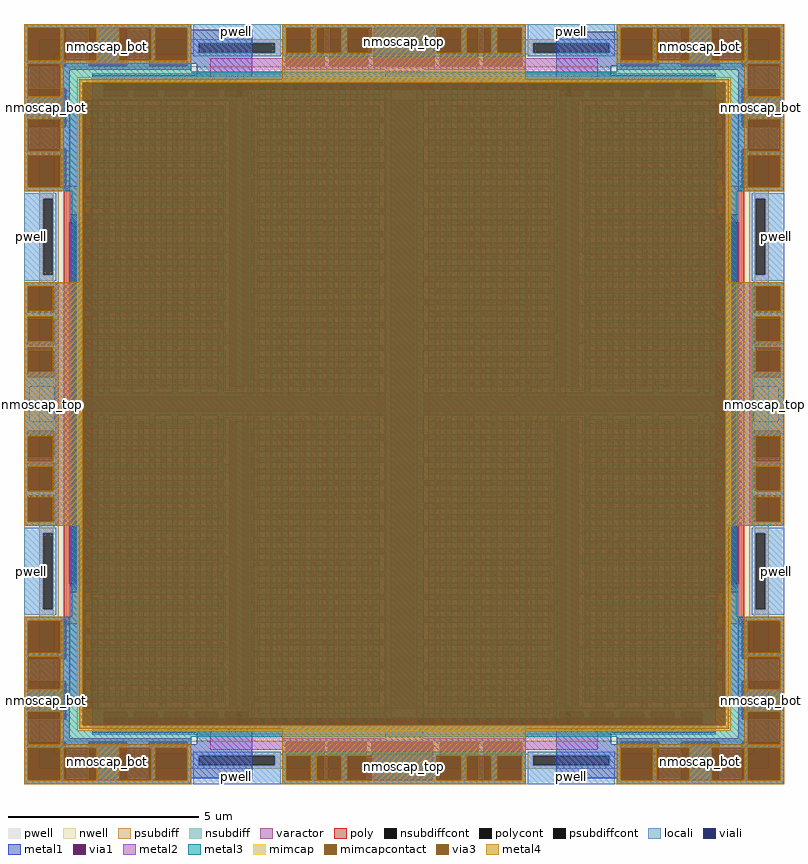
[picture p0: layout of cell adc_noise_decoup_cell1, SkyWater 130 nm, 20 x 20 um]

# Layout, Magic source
magic
tech sky130A
magscale 1 2
<< nwell >>
rect 180 224 3820 3776
<< pwell >>
rect 0 3776 4000 4000
rect 0 224 180 3776
rect 3820 224 4000 3776
rect 0 0 4000 224
<< varactor >>
rect 360 400 3640 3600
<< psubdiff >>
rect 890 3900 1350 3920
rect 890 3850 920 3900
rect 1320 3850 1350 3900
rect 890 3830 1350 3850
rect 2650 3900 3110 3920
rect 2650 3850 2680 3900
rect 3080 3850 3110 3900
rect 2650 3830 3110 3850
rect 80 3080 154 3110
rect 80 2680 100 3080
rect 150 2680 154 3080
rect 80 2650 154 2680
rect 80 1320 154 1350
rect 80 920 100 1320
rect 150 920 154 1320
rect 80 890 154 920
rect 3846 3080 3920 3110
rect 3846 2680 3850 3080
rect 3900 2680 3920 3080
rect 3846 2650 3920 2680
rect 3846 1320 3920 1350
rect 3846 920 3850 1320
rect 3900 920 3920 1320
rect 3846 890 3920 920
rect 890 150 1350 170
rect 890 100 920 150
rect 1320 100 1350 150
rect 890 80 1350 100
rect 2650 150 3110 170
rect 2650 100 2680 150
rect 3080 100 3110 150
rect 2650 80 3110 100
<< nsubdiff >>
rect 360 3720 3640 3740
rect 360 3653 420 3720
rect 3570 3653 3640 3720
rect 360 3600 3640 3653
rect 360 347 3640 400
rect 360 280 420 347
rect 3570 280 3640 347
rect 360 260 3640 280
<< psubdiffcont >>
rect 920 3850 1320 3900
rect 2680 3850 3080 3900
rect 100 2680 150 3080
rect 100 920 150 1320
rect 3850 2680 3900 3080
rect 3850 920 3900 1320
rect 920 100 1320 150
rect 2680 100 3080 150
<< nsubdiffcont >>
rect 420 3653 3570 3720
rect 420 280 3570 347
<< poly >>
rect 320 3150 360 3600
rect 210 2960 360 3150
rect 210 1050 240 2960
rect 313 1050 360 2960
rect 210 840 360 1050
rect 320 400 360 840
rect 3640 3150 3680 3600
rect 3640 2960 3790 3150
rect 3640 1050 3687 2960
rect 3760 1050 3790 2960
rect 3640 840 3790 1050
rect 3640 400 3680 840
<< polycont >>
rect 240 1050 313 2960
rect 3687 1050 3760 2960
<< locali >>
rect 890 3920 1350 4000
rect 2650 3920 3110 4000
rect 80 3900 3920 3920
rect 80 3850 920 3900
rect 1320 3850 2680 3900
rect 3080 3850 3920 3900
rect 80 3840 3920 3850
rect 80 3110 160 3840
rect 890 3830 1350 3840
rect 2650 3830 3110 3840
rect 360 3620 420 3720
rect 540 3620 580 3653
rect 700 3620 740 3653
rect 860 3620 900 3653
rect 1020 3620 1060 3653
rect 1180 3620 2820 3653
rect 2940 3620 2980 3653
rect 3100 3620 3140 3653
rect 3260 3620 3300 3653
rect 3420 3620 3460 3653
rect 3570 3620 3640 3720
rect 360 3600 3640 3620
rect 240 3520 1040 3560
rect 240 3400 320 3520
rect 1080 3480 1150 3600
rect 360 3440 1150 3480
rect 240 3360 1040 3400
rect 240 3240 320 3360
rect 1080 3320 1150 3440
rect 360 3280 1150 3320
rect 240 3200 1040 3240
rect 0 3080 170 3110
rect 0 2680 100 3080
rect 150 2680 170 3080
rect 0 2650 170 2680
rect 240 3080 320 3200
rect 1080 3160 1150 3280
rect 360 3120 1150 3160
rect 240 3040 1040 3080
rect 240 2960 320 3040
rect 1080 3000 1150 3120
rect 360 2960 1150 3000
rect 80 1350 160 2650
rect 0 1320 170 1350
rect 0 920 100 1320
rect 150 920 170 1320
rect 0 890 170 920
rect 313 2920 320 2960
rect 313 2880 1040 2920
rect 313 2760 320 2880
rect 1080 2840 1150 2960
rect 360 2800 1150 2840
rect 313 2720 1040 2760
rect 313 2600 320 2720
rect 1080 2680 1150 2800
rect 360 2640 1150 2680
rect 313 2560 1040 2600
rect 313 2440 320 2560
rect 1080 2520 1150 2640
rect 360 2480 1150 2520
rect 313 2400 1040 2440
rect 313 2280 320 2400
rect 1080 2360 1150 2480
rect 360 2320 1150 2360
rect 313 2240 1040 2280
rect 313 2120 320 2240
rect 1080 2200 1150 2320
rect 360 2160 1150 2200
rect 313 2080 1040 2120
rect 1080 2080 1150 2160
rect 313 2040 320 2080
rect 1190 2040 1230 3560
rect 1270 2080 1310 3600
rect 1350 2040 1390 3560
rect 1430 2080 1470 3600
rect 1510 2040 1550 3560
rect 1590 2080 1630 3600
rect 1670 2040 1710 3560
rect 1750 2080 1790 3600
rect 1830 2040 1870 3560
rect 313 1960 1870 2040
rect 313 1920 320 1960
rect 313 1880 1040 1920
rect 313 1760 320 1880
rect 1080 1840 1150 1920
rect 360 1800 1150 1840
rect 313 1720 1040 1760
rect 313 1600 320 1720
rect 1080 1680 1150 1800
rect 360 1640 1150 1680
rect 313 1560 1040 1600
rect 313 1440 320 1560
rect 1080 1520 1150 1640
rect 360 1480 1150 1520
rect 313 1400 1040 1440
rect 313 1280 320 1400
rect 1080 1360 1150 1480
rect 360 1320 1150 1360
rect 313 1240 1040 1280
rect 313 1120 320 1240
rect 1080 1200 1150 1320
rect 360 1160 1150 1200
rect 313 1080 1040 1120
rect 313 1050 320 1080
rect 240 960 320 1050
rect 1080 1040 1150 1160
rect 360 1000 1150 1040
rect 240 920 1040 960
rect 80 160 160 890
rect 240 800 320 920
rect 1080 880 1150 1000
rect 360 840 1150 880
rect 240 760 1040 800
rect 240 640 320 760
rect 1080 720 1150 840
rect 360 680 1150 720
rect 240 600 1040 640
rect 240 480 320 600
rect 1080 560 1150 680
rect 360 520 1150 560
rect 240 440 1040 480
rect 1080 400 1150 520
rect 1190 440 1230 1960
rect 1270 400 1310 1920
rect 1350 440 1390 1960
rect 1430 400 1470 1920
rect 1510 440 1550 1960
rect 1590 400 1630 1920
rect 1670 440 1710 1960
rect 1750 400 1790 1920
rect 1830 440 1870 1960
rect 1910 400 2090 3600
rect 2130 2040 2170 3560
rect 2210 2080 2250 3600
rect 2290 2040 2330 3560
rect 2370 2080 2410 3600
rect 2450 2040 2490 3560
rect 2530 2080 2570 3600
rect 2610 2040 2650 3560
rect 2690 2080 2730 3600
rect 2770 2040 2810 3560
rect 2850 3480 2920 3600
rect 2960 3520 3760 3560
rect 2850 3440 3640 3480
rect 2850 3320 2920 3440
rect 3680 3400 3760 3520
rect 2960 3360 3760 3400
rect 2850 3280 3640 3320
rect 2850 3160 2920 3280
rect 3680 3240 3760 3360
rect 2960 3200 3760 3240
rect 2850 3120 3640 3160
rect 2850 3000 2920 3120
rect 3680 3080 3760 3200
rect 3840 3110 3920 3840
rect 2960 3040 3760 3080
rect 2850 2960 3640 3000
rect 3680 2960 3760 3040
rect 2850 2840 2920 2960
rect 3680 2920 3687 2960
rect 2960 2880 3687 2920
rect 2850 2800 3640 2840
rect 2850 2680 2920 2800
rect 3680 2760 3687 2880
rect 2960 2720 3687 2760
rect 2850 2640 3640 2680
rect 2850 2520 2920 2640
rect 3680 2600 3687 2720
rect 2960 2560 3687 2600
rect 2850 2480 3640 2520
rect 2850 2360 2920 2480
rect 3680 2440 3687 2560
rect 2960 2400 3687 2440
rect 2850 2320 3640 2360
rect 2850 2200 2920 2320
rect 3680 2280 3687 2400
rect 2960 2240 3687 2280
rect 2850 2160 3640 2200
rect 2850 2080 2920 2160
rect 3680 2120 3687 2240
rect 2960 2080 3687 2120
rect 3680 2040 3687 2080
rect 2130 1960 3687 2040
rect 2130 440 2170 1960
rect 2210 400 2250 1920
rect 2290 440 2330 1960
rect 2370 400 2410 1920
rect 2450 440 2490 1960
rect 2530 400 2570 1920
rect 2610 440 2650 1960
rect 2690 400 2730 1920
rect 2770 440 2810 1960
rect 3680 1920 3687 1960
rect 2850 1840 2920 1920
rect 2960 1880 3687 1920
rect 2850 1800 3640 1840
rect 2850 1680 2920 1800
rect 3680 1760 3687 1880
rect 2960 1720 3687 1760
rect 2850 1640 3640 1680
rect 2850 1520 2920 1640
rect 3680 1600 3687 1720
rect 2960 1560 3687 1600
rect 2850 1480 3640 1520
rect 2850 1360 2920 1480
rect 3680 1440 3687 1560
rect 2960 1400 3687 1440
rect 2850 1320 3640 1360
rect 2850 1200 2920 1320
rect 3680 1280 3687 1400
rect 2960 1240 3687 1280
rect 2850 1160 3640 1200
rect 2850 1040 2920 1160
rect 3680 1120 3687 1240
rect 2960 1080 3687 1120
rect 3680 1050 3687 1080
rect 3830 3080 4000 3110
rect 3830 2680 3850 3080
rect 3900 2680 4000 3080
rect 3830 2650 4000 2680
rect 3840 1350 3920 2650
rect 2850 1000 3640 1040
rect 2850 880 2920 1000
rect 3680 960 3760 1050
rect 2960 920 3760 960
rect 2850 840 3640 880
rect 2850 720 2920 840
rect 3680 800 3760 920
rect 3830 1320 4000 1350
rect 3830 920 3850 1320
rect 3900 920 4000 1320
rect 3830 890 4000 920
rect 2960 760 3760 800
rect 2850 680 3640 720
rect 2850 560 2920 680
rect 3680 640 3760 760
rect 2960 600 3760 640
rect 2850 520 3640 560
rect 2850 400 2920 520
rect 3680 480 3760 600
rect 2960 440 3760 480
rect 360 380 3640 400
rect 360 280 420 380
rect 540 347 580 380
rect 700 347 740 380
rect 860 347 900 380
rect 1020 347 1060 380
rect 1180 347 2820 380
rect 2940 347 2980 380
rect 3100 347 3140 380
rect 3260 347 3300 380
rect 3420 347 3460 380
rect 3570 280 3640 380
rect 890 160 1350 170
rect 2650 160 3110 170
rect 3840 160 3920 890
rect 80 150 3920 160
rect 80 100 920 150
rect 1320 100 2680 150
rect 3080 100 3920 150
rect 80 80 3920 100
rect 890 0 1350 80
rect 2650 0 3110 80
<< viali >>
rect 420 3653 540 3720
rect 580 3653 700 3720
rect 740 3653 860 3720
rect 900 3653 1020 3720
rect 1060 3653 1180 3720
rect 2820 3653 2940 3720
rect 2980 3653 3100 3720
rect 3140 3653 3260 3720
rect 3300 3653 3420 3720
rect 3460 3653 3570 3720
rect 420 3620 540 3653
rect 580 3620 700 3653
rect 740 3620 860 3653
rect 900 3620 1020 3653
rect 1060 3620 1180 3653
rect 2820 3620 2940 3653
rect 2980 3620 3100 3653
rect 3140 3620 3260 3653
rect 3300 3620 3420 3653
rect 3460 3620 3570 3653
rect 250 1060 310 2950
rect 3690 1060 3750 2950
rect 420 347 540 380
rect 580 347 700 380
rect 740 347 860 380
rect 900 347 1020 380
rect 1060 347 1180 380
rect 2820 347 2940 380
rect 2980 347 3100 380
rect 3140 347 3260 380
rect 3300 347 3420 380
rect 3460 347 3570 380
rect 420 280 540 347
rect 580 280 700 347
rect 740 280 860 347
rect 900 280 1020 347
rect 1060 280 1180 347
rect 2820 280 2940 347
rect 2980 280 3100 347
rect 3140 280 3260 347
rect 3300 280 3420 347
rect 3460 280 3570 347
<< metal1 >>
rect 0 3980 880 4000
rect 0 3780 20 3980
rect 220 3780 340 3980
rect 540 3780 660 3980
rect 860 3970 880 3980
rect 1360 3980 2640 4000
rect 860 3790 1200 3970
rect 860 3780 880 3790
rect 0 3760 880 3780
rect 0 3660 240 3760
rect 910 3730 1200 3790
rect 1360 3780 1380 3980
rect 1580 3780 1610 3980
rect 1810 3780 1840 3980
rect 2160 3780 2190 3980
rect 2390 3780 2420 3980
rect 2620 3780 2640 3980
rect 3120 3980 4000 4000
rect 3120 3960 3140 3980
rect 1360 3760 2640 3780
rect 2800 3780 3140 3960
rect 3340 3780 3460 3980
rect 3660 3780 3780 3980
rect 3980 3780 4000 3980
rect 0 3460 20 3660
rect 220 3460 240 3660
rect 0 3340 240 3460
rect 0 3140 20 3340
rect 220 3140 240 3340
rect 0 3120 240 3140
rect 360 3720 1200 3730
rect 360 3620 420 3720
rect 540 3620 580 3720
rect 700 3620 740 3720
rect 860 3620 900 3720
rect 1020 3620 1060 3720
rect 1180 3690 1200 3720
rect 1180 3660 1870 3690
rect 1180 3620 1200 3660
rect 1900 3630 2100 3760
rect 2800 3730 3090 3780
rect 3120 3760 4000 3780
rect 2800 3720 3640 3730
rect 2800 3690 2820 3720
rect 2140 3660 2820 3690
rect 360 3600 1200 3620
rect 1230 3600 2770 3630
rect 2800 3620 2820 3660
rect 2940 3620 2980 3720
rect 3100 3620 3140 3720
rect 3260 3620 3300 3720
rect 3420 3620 3460 3720
rect 3570 3620 3640 3720
rect 2800 3600 3640 3620
rect 360 3030 390 3600
rect 240 2950 390 3000
rect 240 2640 250 2950
rect 0 2620 250 2640
rect 0 2480 20 2620
rect 160 2480 250 2620
rect 0 2450 250 2480
rect 0 2310 20 2450
rect 160 2310 250 2450
rect 0 2280 250 2310
rect 0 2140 20 2280
rect 160 2140 250 2280
rect 0 2090 250 2140
rect 0 1910 30 2090
rect 160 1910 250 2090
rect 0 1860 250 1910
rect 0 1720 20 1860
rect 160 1720 250 1860
rect 0 1690 250 1720
rect 0 1550 20 1690
rect 160 1550 250 1690
rect 0 1520 250 1550
rect 0 1380 20 1520
rect 160 1380 250 1520
rect 0 1360 250 1380
rect 240 1060 250 1360
rect 310 2060 390 2950
rect 420 2060 450 3570
rect 480 2090 510 3600
rect 540 2060 570 3570
rect 600 2090 630 3600
rect 660 2060 690 3570
rect 720 2090 750 3600
rect 780 2060 810 3570
rect 840 2090 870 3600
rect 900 2060 930 3570
rect 960 2090 990 3600
rect 1080 3570 1200 3600
rect 1020 2060 1050 3570
rect 1080 3540 1870 3570
rect 1080 3450 1200 3540
rect 1900 3510 2100 3600
rect 2800 3570 2920 3600
rect 2130 3540 2920 3570
rect 1230 3480 2770 3510
rect 1080 3420 1870 3450
rect 1080 3330 1200 3420
rect 1900 3390 2100 3480
rect 2800 3450 2920 3540
rect 2130 3420 2920 3450
rect 1230 3360 2770 3390
rect 1080 3300 1870 3330
rect 1080 3210 1200 3300
rect 1900 3270 2100 3360
rect 2800 3330 2920 3420
rect 2130 3300 2920 3330
rect 1230 3240 2770 3270
rect 1080 3180 1870 3210
rect 1080 3090 1200 3180
rect 1900 3150 2100 3240
rect 2800 3210 2920 3300
rect 2130 3180 2920 3210
rect 1230 3120 2770 3150
rect 1080 3060 1870 3090
rect 1080 2970 1200 3060
rect 1900 3030 2100 3120
rect 2800 3090 2920 3180
rect 2130 3060 2920 3090
rect 1230 3000 2770 3030
rect 1080 2940 1870 2970
rect 1080 2850 1200 2940
rect 1900 2910 2100 3000
rect 2800 2970 2920 3060
rect 2130 2940 2920 2970
rect 1230 2880 2770 2910
rect 1080 2820 1870 2850
rect 1080 2730 1200 2820
rect 1900 2790 2100 2880
rect 2800 2850 2920 2940
rect 2130 2820 2920 2850
rect 1230 2760 2770 2790
rect 1080 2700 1870 2730
rect 1080 2610 1200 2700
rect 1900 2670 2100 2760
rect 2800 2730 2920 2820
rect 2130 2700 2920 2730
rect 1230 2640 2770 2670
rect 1080 2580 1870 2610
rect 1080 2490 1200 2580
rect 1900 2550 2100 2640
rect 2800 2610 2920 2700
rect 2130 2580 2920 2610
rect 1230 2520 2770 2550
rect 1080 2460 1870 2490
rect 1080 2370 1200 2460
rect 1900 2430 2100 2520
rect 2800 2490 2920 2580
rect 2130 2460 2920 2490
rect 1230 2400 2770 2430
rect 1080 2340 1870 2370
rect 1080 2250 1200 2340
rect 1900 2310 2100 2400
rect 2800 2370 2920 2460
rect 2130 2340 2920 2370
rect 1230 2280 2770 2310
rect 1080 2220 1870 2250
rect 1080 2130 1200 2220
rect 1900 2190 2100 2280
rect 2800 2250 2920 2340
rect 2130 2220 2920 2250
rect 1230 2160 2770 2190
rect 1080 2090 1870 2130
rect 1900 2060 2100 2160
rect 2800 2130 2920 2220
rect 2130 2090 2920 2130
rect 2950 2060 2980 3570
rect 3010 2090 3040 3600
rect 3070 2060 3100 3570
rect 3130 2090 3160 3600
rect 3190 2060 3220 3570
rect 3250 2090 3280 3600
rect 3310 2060 3340 3570
rect 3370 2090 3400 3600
rect 3430 2060 3460 3570
rect 3490 2090 3520 3600
rect 3550 2060 3580 3570
rect 3610 3030 3640 3600
rect 3760 3660 4000 3760
rect 3760 3460 3780 3660
rect 3980 3460 4000 3660
rect 3760 3340 4000 3460
rect 3760 3140 3780 3340
rect 3980 3140 4000 3340
rect 3760 3120 4000 3140
rect 3610 2950 3760 3000
rect 3610 2060 3690 2950
rect 310 1940 3690 2060
rect 310 1060 390 1940
rect 240 1010 390 1060
rect 0 860 240 880
rect 0 660 20 860
rect 220 660 240 860
rect 0 540 240 660
rect 0 340 20 540
rect 220 340 240 540
rect 0 240 240 340
rect 360 400 390 980
rect 420 430 450 1940
rect 480 400 510 1910
rect 540 430 570 1940
rect 600 400 630 1910
rect 660 430 690 1940
rect 720 400 750 1910
rect 780 430 810 1940
rect 840 400 870 1910
rect 900 430 930 1940
rect 960 400 990 1910
rect 1020 430 1050 1940
rect 1080 1870 1870 1910
rect 1080 1780 1200 1870
rect 1900 1840 2100 1940
rect 2130 1870 2920 1910
rect 1230 1810 2770 1840
rect 1080 1750 1870 1780
rect 1080 1660 1200 1750
rect 1900 1720 2100 1810
rect 2800 1780 2920 1870
rect 2130 1750 2920 1780
rect 1230 1690 2770 1720
rect 1080 1630 1870 1660
rect 1080 1540 1200 1630
rect 1900 1600 2100 1690
rect 2800 1660 2920 1750
rect 2130 1630 2920 1660
rect 1230 1570 2770 1600
rect 1080 1510 1870 1540
rect 1080 1420 1200 1510
rect 1900 1480 2100 1570
rect 2800 1540 2920 1630
rect 2130 1510 2920 1540
rect 1230 1450 2770 1480
rect 1080 1390 1870 1420
rect 1080 1300 1200 1390
rect 1900 1360 2100 1450
rect 2800 1420 2920 1510
rect 2130 1390 2920 1420
rect 1230 1330 2770 1360
rect 1080 1270 1870 1300
rect 1080 1180 1200 1270
rect 1900 1240 2100 1330
rect 2800 1300 2920 1390
rect 2130 1270 2920 1300
rect 1230 1210 2770 1240
rect 1080 1150 1870 1180
rect 1080 1060 1200 1150
rect 1900 1120 2100 1210
rect 2800 1180 2920 1270
rect 2130 1150 2920 1180
rect 1230 1090 2770 1120
rect 1080 1030 1870 1060
rect 1080 940 1200 1030
rect 1900 1000 2100 1090
rect 2800 1060 2920 1150
rect 2130 1030 2920 1060
rect 1230 970 2770 1000
rect 1080 910 1870 940
rect 1080 820 1200 910
rect 1900 880 2100 970
rect 2800 940 2920 1030
rect 2130 910 2920 940
rect 1230 850 2770 880
rect 1080 790 1870 820
rect 1080 700 1200 790
rect 1900 760 2100 850
rect 2800 820 2920 910
rect 2130 790 2920 820
rect 1230 730 2770 760
rect 1080 670 1870 700
rect 1080 580 1200 670
rect 1900 640 2100 730
rect 2800 700 2920 790
rect 2130 670 2920 700
rect 1230 610 2770 640
rect 1080 550 1870 580
rect 1080 460 1200 550
rect 1900 520 2100 610
rect 2800 580 2920 670
rect 2130 550 2920 580
rect 1230 490 2770 520
rect 1080 430 1870 460
rect 1080 400 1200 430
rect 1900 400 2100 490
rect 2800 460 2920 550
rect 2130 430 2920 460
rect 2950 430 2980 1940
rect 2800 400 2920 430
rect 3010 400 3040 1910
rect 3070 430 3100 1940
rect 3130 400 3160 1910
rect 3190 430 3220 1940
rect 3250 400 3280 1910
rect 3310 430 3340 1940
rect 3370 400 3400 1910
rect 3430 430 3460 1940
rect 3490 400 3520 1910
rect 3550 430 3580 1940
rect 3610 1060 3690 1940
rect 3750 2640 3760 2950
rect 3750 2620 4000 2640
rect 3750 2480 3840 2620
rect 3980 2480 4000 2620
rect 3750 2450 4000 2480
rect 3750 2310 3840 2450
rect 3980 2310 4000 2450
rect 3750 2280 4000 2310
rect 3750 2140 3840 2280
rect 3980 2140 4000 2280
rect 3750 2090 4000 2140
rect 3750 1910 3840 2090
rect 3970 1910 4000 2090
rect 3750 1860 4000 1910
rect 3750 1720 3840 1860
rect 3980 1720 4000 1860
rect 3750 1690 4000 1720
rect 3750 1550 3840 1690
rect 3980 1550 4000 1690
rect 3750 1520 4000 1550
rect 3750 1380 3840 1520
rect 3980 1380 4000 1520
rect 3750 1360 4000 1380
rect 3750 1060 3760 1360
rect 3610 1010 3760 1060
rect 3610 400 3640 980
rect 360 380 1200 400
rect 360 280 420 380
rect 540 280 580 380
rect 700 280 740 380
rect 860 280 900 380
rect 1020 280 1060 380
rect 1180 340 1200 380
rect 1230 370 2770 400
rect 2800 380 3640 400
rect 1180 310 1870 340
rect 1180 280 1200 310
rect 360 270 1200 280
rect 0 220 880 240
rect 0 20 20 220
rect 220 20 340 220
rect 540 20 660 220
rect 860 210 880 220
rect 910 210 1200 270
rect 1900 240 2100 370
rect 2800 340 2820 380
rect 2130 310 2820 340
rect 2800 280 2820 310
rect 2940 280 2980 380
rect 3100 280 3140 380
rect 3260 280 3300 380
rect 3420 280 3460 380
rect 3570 280 3640 380
rect 2800 270 3640 280
rect 3760 860 4000 880
rect 3760 660 3780 860
rect 3980 660 4000 860
rect 3760 540 4000 660
rect 3760 340 3780 540
rect 3980 340 4000 540
rect 860 30 1200 210
rect 1360 220 2640 240
rect 860 20 880 30
rect 0 0 880 20
rect 1360 20 1380 220
rect 1580 20 1600 220
rect 1800 20 1830 220
rect 2150 20 2190 220
rect 2390 20 2420 220
rect 2620 20 2640 220
rect 2800 210 3090 270
rect 3760 240 4000 340
rect 3120 220 4000 240
rect 3120 210 3140 220
rect 2800 30 3140 210
rect 1360 0 2640 20
rect 3120 20 3140 30
rect 3340 20 3460 220
rect 3660 20 3780 220
rect 3980 20 4000 220
rect 3120 0 4000 20
<< via1 >>
rect 20 3780 220 3980
rect 340 3780 540 3980
rect 660 3780 860 3980
rect 1380 3780 1580 3980
rect 1610 3780 1810 3980
rect 1840 3780 2160 3980
rect 2190 3780 2390 3980
rect 2420 3780 2620 3980
rect 3140 3780 3340 3980
rect 3460 3780 3660 3980
rect 3780 3780 3980 3980
rect 20 3460 220 3660
rect 20 3140 220 3340
rect 20 2480 160 2620
rect 20 2310 160 2450
rect 20 2140 160 2280
rect 20 1720 160 1860
rect 20 1550 160 1690
rect 20 1380 160 1520
rect 3780 3460 3980 3660
rect 3780 3140 3980 3340
rect 20 660 220 860
rect 20 340 220 540
rect 3840 2480 3980 2620
rect 3840 2310 3980 2450
rect 3840 2140 3980 2280
rect 3840 1720 3980 1860
rect 3840 1550 3980 1690
rect 3840 1380 3980 1520
rect 20 20 220 220
rect 340 20 540 220
rect 660 20 860 220
rect 3780 660 3980 860
rect 3780 340 3980 540
rect 1380 20 1580 220
rect 1600 20 1800 220
rect 1830 20 2150 220
rect 2190 20 2390 220
rect 2420 20 2620 220
rect 3140 20 3340 220
rect 3460 20 3660 220
rect 3780 20 3980 220
<< metal2 >>
rect 0 3980 880 4000
rect 0 3780 20 3980
rect 220 3780 340 3980
rect 540 3780 660 3980
rect 860 3780 880 3980
rect 1360 3980 2640 4000
rect 1360 3820 1380 3980
rect 0 3760 880 3780
rect 980 3780 1380 3820
rect 1580 3780 1610 3980
rect 1810 3780 1840 3980
rect 2160 3780 2190 3980
rect 2390 3780 2420 3980
rect 2620 3820 2640 3980
rect 3120 3980 4000 4000
rect 2620 3780 3020 3820
rect 0 3660 242 3760
rect 980 3720 3020 3780
rect 3120 3780 3140 3980
rect 3340 3780 3460 3980
rect 3660 3780 3780 3980
rect 3980 3780 4000 3980
rect 3120 3760 4000 3780
rect 0 3460 20 3660
rect 220 3570 242 3660
rect 360 3710 3640 3720
rect 360 3600 1120 3710
rect 220 3540 1030 3570
rect 220 3460 320 3540
rect 1060 3510 1120 3600
rect 350 3480 1120 3510
rect 0 3450 320 3460
rect 0 3420 1030 3450
rect 0 3340 320 3420
rect 1060 3390 1120 3480
rect 350 3360 1120 3390
rect 0 3140 20 3340
rect 220 3330 320 3340
rect 220 3300 1030 3330
rect 220 3210 320 3300
rect 1060 3270 1120 3360
rect 350 3240 1120 3270
rect 220 3180 1030 3210
rect 220 3140 320 3180
rect 1060 3150 1120 3240
rect 0 3120 320 3140
rect 350 3120 1120 3150
rect 240 3090 320 3120
rect 240 3060 1030 3090
rect 240 2970 320 3060
rect 1060 3030 1120 3120
rect 350 3000 1120 3030
rect 240 2940 1030 2970
rect 240 2850 320 2940
rect 1060 2910 1120 3000
rect 350 2880 1120 2910
rect 240 2820 1030 2850
rect 240 2730 320 2820
rect 1060 2790 1120 2880
rect 350 2760 1120 2790
rect 240 2700 1030 2730
rect 0 2620 180 2640
rect 0 2480 20 2620
rect 160 2480 180 2620
rect 0 2450 180 2480
rect 0 2310 20 2450
rect 160 2310 180 2450
rect 0 2280 180 2310
rect 0 2140 20 2280
rect 160 2140 180 2280
rect 0 1860 180 2140
rect 0 1720 20 1860
rect 160 1720 180 1860
rect 0 1690 180 1720
rect 0 1550 20 1690
rect 160 1550 180 1690
rect 0 1520 180 1550
rect 0 1380 20 1520
rect 160 1380 180 1520
rect 0 1360 180 1380
rect 240 2610 320 2700
rect 1060 2670 1120 2760
rect 350 2640 1120 2670
rect 240 2580 1030 2610
rect 240 2490 320 2580
rect 1060 2550 1120 2640
rect 350 2520 1120 2550
rect 240 2460 1030 2490
rect 240 2370 320 2460
rect 1060 2430 1120 2520
rect 350 2400 1120 2430
rect 240 2340 1030 2370
rect 240 2250 320 2340
rect 1060 2310 1120 2400
rect 350 2280 1120 2310
rect 240 2220 1030 2250
rect 240 2130 320 2220
rect 1060 2190 1120 2280
rect 350 2160 1120 2190
rect 240 2100 1030 2130
rect 240 2040 320 2100
rect 1060 2070 1120 2160
rect 1150 2040 1180 3680
rect 1210 2070 1240 3710
rect 1270 2040 1300 3680
rect 1330 2070 1360 3710
rect 1390 2040 1420 3680
rect 1450 2070 1480 3710
rect 1510 2040 1540 3680
rect 1570 2070 1600 3710
rect 1630 2040 1660 3680
rect 1690 2070 1720 3710
rect 1750 2040 1780 3680
rect 1810 2070 1840 3710
rect 1870 2040 1900 3680
rect 240 1960 1900 2040
rect 240 1900 320 1960
rect 240 1870 1030 1900
rect 240 1780 320 1870
rect 1060 1840 1120 1930
rect 350 1810 1120 1840
rect 240 1750 1030 1780
rect 240 1660 320 1750
rect 1060 1720 1120 1810
rect 350 1690 1120 1720
rect 240 1630 1030 1660
rect 240 1540 320 1630
rect 1060 1600 1120 1690
rect 350 1570 1120 1600
rect 240 1510 1030 1540
rect 240 1420 320 1510
rect 1060 1480 1120 1570
rect 350 1450 1120 1480
rect 240 1390 1030 1420
rect 240 1300 320 1390
rect 1060 1360 1120 1450
rect 350 1330 1120 1360
rect 240 1270 1030 1300
rect 240 1180 320 1270
rect 1060 1240 1120 1330
rect 350 1210 1120 1240
rect 240 1150 1030 1180
rect 240 1060 320 1150
rect 1060 1120 1120 1210
rect 350 1090 1120 1120
rect 240 1030 1030 1060
rect 240 940 320 1030
rect 1060 1000 1120 1090
rect 350 970 1120 1000
rect 240 910 1030 940
rect 240 880 320 910
rect 1060 880 1120 970
rect 0 860 320 880
rect 0 660 20 860
rect 220 820 320 860
rect 350 850 1120 880
rect 220 790 1030 820
rect 220 700 320 790
rect 1060 760 1120 850
rect 350 730 1120 760
rect 220 670 1030 700
rect 220 660 320 670
rect 0 580 320 660
rect 1060 640 1120 730
rect 350 610 1120 640
rect 0 550 1030 580
rect 0 540 320 550
rect 0 340 20 540
rect 220 460 320 540
rect 1060 520 1120 610
rect 350 490 1120 520
rect 220 430 1030 460
rect 220 340 240 430
rect 1060 400 1120 490
rect 0 240 240 340
rect 360 290 1120 400
rect 1150 320 1180 1960
rect 1210 290 1240 1930
rect 1270 320 1300 1960
rect 1330 290 1360 1930
rect 1390 320 1420 1960
rect 1450 290 1480 1930
rect 1510 320 1540 1960
rect 1570 290 1600 1930
rect 1630 320 1660 1960
rect 1690 290 1720 1930
rect 1750 320 1780 1960
rect 1810 290 1840 1930
rect 1870 320 1900 1960
rect 1930 290 2070 3710
rect 2100 2040 2130 3680
rect 2160 2070 2190 3710
rect 2220 2040 2250 3680
rect 2280 2070 2310 3710
rect 2340 2040 2370 3680
rect 2400 2070 2430 3710
rect 2460 2040 2490 3680
rect 2520 2070 2550 3710
rect 2580 2040 2610 3680
rect 2640 2070 2670 3710
rect 2700 2040 2730 3680
rect 2760 2070 2790 3710
rect 2820 2040 2850 3680
rect 2880 3600 3640 3710
rect 3760 3660 4000 3760
rect 2880 3510 2940 3600
rect 3760 3570 3780 3660
rect 2970 3540 3780 3570
rect 2880 3480 3650 3510
rect 2880 3390 2940 3480
rect 3680 3460 3780 3540
rect 3980 3460 4000 3660
rect 3680 3450 4000 3460
rect 2970 3420 4000 3450
rect 2880 3360 3650 3390
rect 2880 3270 2940 3360
rect 3680 3340 4000 3420
rect 3680 3330 3780 3340
rect 2970 3300 3780 3330
rect 2880 3240 3650 3270
rect 2880 3150 2940 3240
rect 3680 3210 3780 3300
rect 2970 3180 3780 3210
rect 2880 3120 3650 3150
rect 3680 3140 3780 3180
rect 3980 3140 4000 3340
rect 3680 3120 4000 3140
rect 2880 3030 2940 3120
rect 3680 3090 3760 3120
rect 2970 3060 3760 3090
rect 2880 3000 3650 3030
rect 2880 2910 2940 3000
rect 3680 2970 3760 3060
rect 2970 2940 3760 2970
rect 2880 2880 3650 2910
rect 2880 2790 2940 2880
rect 3680 2850 3760 2940
rect 2970 2820 3760 2850
rect 2880 2760 3650 2790
rect 2880 2670 2940 2760
rect 3680 2730 3760 2820
rect 2970 2700 3760 2730
rect 2880 2640 3650 2670
rect 2880 2550 2940 2640
rect 3680 2610 3760 2700
rect 2970 2580 3760 2610
rect 2880 2520 3650 2550
rect 2880 2430 2940 2520
rect 3680 2490 3760 2580
rect 2970 2460 3760 2490
rect 2880 2400 3650 2430
rect 2880 2310 2940 2400
rect 3680 2370 3760 2460
rect 2970 2340 3760 2370
rect 2880 2280 3650 2310
rect 2880 2190 2940 2280
rect 3680 2250 3760 2340
rect 2970 2220 3760 2250
rect 2880 2160 3650 2190
rect 2880 2070 2940 2160
rect 3680 2130 3760 2220
rect 2970 2100 3760 2130
rect 3680 2040 3760 2100
rect 2100 1960 3760 2040
rect 2100 320 2130 1960
rect 2160 290 2190 1930
rect 2220 320 2250 1960
rect 2280 290 2310 1930
rect 2340 320 2370 1960
rect 2400 290 2430 1930
rect 2460 320 2490 1960
rect 2520 290 2550 1930
rect 2580 320 2610 1960
rect 2640 290 2670 1930
rect 2700 320 2730 1960
rect 2760 290 2790 1930
rect 2820 320 2850 1960
rect 2880 1840 2940 1930
rect 3680 1900 3760 1960
rect 2970 1870 3760 1900
rect 2880 1810 3650 1840
rect 2880 1720 2940 1810
rect 3680 1780 3760 1870
rect 2970 1750 3760 1780
rect 2880 1690 3650 1720
rect 2880 1600 2940 1690
rect 3680 1660 3760 1750
rect 2970 1630 3760 1660
rect 2880 1570 3650 1600
rect 2880 1480 2940 1570
rect 3680 1540 3760 1630
rect 2970 1510 3760 1540
rect 2880 1450 3650 1480
rect 2880 1360 2940 1450
rect 3680 1420 3760 1510
rect 2970 1390 3760 1420
rect 2880 1330 3650 1360
rect 2880 1240 2940 1330
rect 3680 1300 3760 1390
rect 3820 2620 4000 2640
rect 3820 2480 3840 2620
rect 3980 2480 4000 2620
rect 3820 2450 4000 2480
rect 3820 2310 3840 2450
rect 3980 2310 4000 2450
rect 3820 2280 4000 2310
rect 3820 2140 3840 2280
rect 3980 2140 4000 2280
rect 3820 1860 4000 2140
rect 3820 1720 3840 1860
rect 3980 1720 4000 1860
rect 3820 1690 4000 1720
rect 3820 1550 3840 1690
rect 3980 1550 4000 1690
rect 3820 1520 4000 1550
rect 3820 1380 3840 1520
rect 3980 1380 4000 1520
rect 3820 1360 4000 1380
rect 2970 1270 3760 1300
rect 2880 1210 3650 1240
rect 2880 1120 2940 1210
rect 3680 1180 3760 1270
rect 2970 1150 3760 1180
rect 2880 1090 3650 1120
rect 2880 1000 2940 1090
rect 3680 1060 3760 1150
rect 2970 1030 3760 1060
rect 2880 970 3650 1000
rect 2880 880 2940 970
rect 3680 940 3760 1030
rect 2970 910 3760 940
rect 3680 880 3760 910
rect 2880 850 3650 880
rect 3680 860 4000 880
rect 2880 760 2940 850
rect 3680 820 3780 860
rect 2970 790 3780 820
rect 2880 730 3650 760
rect 2880 640 2940 730
rect 3680 700 3780 790
rect 2970 670 3780 700
rect 3680 660 3780 670
rect 3980 660 4000 860
rect 2880 610 3650 640
rect 2880 520 2940 610
rect 3680 580 4000 660
rect 2970 550 4000 580
rect 3680 540 4000 550
rect 2880 490 3650 520
rect 2880 400 2940 490
rect 3680 460 3780 540
rect 2970 430 3780 460
rect 2880 290 3640 400
rect 360 280 3640 290
rect 3760 340 3780 430
rect 3980 340 4000 540
rect 0 220 880 240
rect 0 20 20 220
rect 220 20 340 220
rect 540 20 660 220
rect 860 20 880 220
rect 980 220 3020 280
rect 3760 240 4000 340
rect 980 180 1380 220
rect 0 0 880 20
rect 1360 20 1380 180
rect 1580 20 1600 220
rect 1800 20 1830 220
rect 2150 20 2190 220
rect 2390 20 2420 220
rect 2620 180 3020 220
rect 3120 220 4000 240
rect 2620 20 2640 180
rect 1360 0 2640 20
rect 3120 20 3140 220
rect 3340 20 3460 220
rect 3660 20 3780 220
rect 3980 20 4000 220
rect 3120 0 4000 20
<< metal3 >>
rect 0 3980 880 4000
rect 0 3810 20 3980
rect 190 3810 210 3980
rect 380 3810 500 3980
rect 670 3810 690 3980
rect 860 3810 880 3980
rect 1360 3980 2640 4000
rect 1360 3850 1380 3980
rect 1510 3850 1540 3980
rect 1670 3850 1700 3980
rect 1830 3850 2170 3980
rect 2300 3850 2330 3980
rect 2460 3850 2490 3980
rect 2620 3850 2640 3980
rect 1360 3830 2640 3850
rect 3120 3980 4000 4000
rect 0 3790 880 3810
rect 0 3620 20 3790
rect 190 3750 880 3790
rect 3120 3810 3140 3980
rect 3310 3810 3330 3980
rect 3500 3810 3620 3980
rect 3790 3810 3810 3980
rect 3980 3810 4000 3980
rect 3120 3790 4000 3810
rect 3120 3750 3810 3790
rect 190 3620 3810 3750
rect 3980 3620 4000 3790
rect 0 3500 4000 3620
rect 0 3330 20 3500
rect 190 3330 3810 3500
rect 3980 3330 4000 3500
rect 0 3310 4000 3330
rect 0 3140 20 3310
rect 190 3140 3810 3310
rect 3980 3140 4000 3310
rect 0 3120 4000 3140
rect 0 2620 170 2640
rect 0 2490 20 2620
rect 150 2490 170 2620
rect 0 2460 170 2490
rect 0 2330 20 2460
rect 150 2330 170 2460
rect 0 2300 170 2330
rect 0 2170 20 2300
rect 150 2170 170 2300
rect 0 1830 170 2170
rect 0 1700 20 1830
rect 150 1700 170 1830
rect 0 1670 170 1700
rect 0 1540 20 1670
rect 150 1540 170 1670
rect 0 1510 170 1540
rect 0 1380 20 1510
rect 150 1380 170 1510
rect 0 1360 170 1380
rect 250 880 3750 3120
rect 3830 2620 4000 2640
rect 3830 2490 3850 2620
rect 3980 2490 4000 2620
rect 3830 2460 4000 2490
rect 3830 2330 3850 2460
rect 3980 2330 4000 2460
rect 3830 2300 4000 2330
rect 3830 2170 3850 2300
rect 3980 2170 4000 2300
rect 3830 1830 4000 2170
rect 3830 1700 3850 1830
rect 3980 1700 4000 1830
rect 3830 1670 4000 1700
rect 3830 1540 3850 1670
rect 3980 1540 4000 1670
rect 3830 1510 4000 1540
rect 3830 1380 3850 1510
rect 3980 1380 4000 1510
rect 3830 1360 4000 1380
rect 0 860 4000 880
rect 0 690 20 860
rect 190 690 3810 860
rect 3980 690 4000 860
rect 0 670 4000 690
rect 0 500 20 670
rect 190 500 3810 670
rect 3980 500 4000 670
rect 0 380 4000 500
rect 0 210 20 380
rect 190 250 3810 380
rect 190 210 880 250
rect 0 190 880 210
rect 0 20 20 190
rect 190 20 210 190
rect 380 20 500 190
rect 670 20 690 190
rect 860 20 880 190
rect 3120 210 3810 250
rect 3980 210 4000 380
rect 3120 190 4000 210
rect 0 0 880 20
rect 1360 150 2640 170
rect 1360 20 1380 150
rect 1510 20 1540 150
rect 1670 20 1700 150
rect 1830 20 2170 150
rect 2300 20 2330 150
rect 2460 20 2490 150
rect 2620 20 2640 150
rect 1360 0 2640 20
rect 3120 20 3140 190
rect 3310 20 3330 190
rect 3500 20 3620 190
rect 3790 20 3810 190
rect 3980 20 4000 190
rect 3120 0 4000 20
<< via3 >>
rect 20 3810 190 3980
rect 210 3810 380 3980
rect 500 3810 670 3980
rect 690 3810 860 3980
rect 1380 3850 1510 3980
rect 1540 3850 1670 3980
rect 1700 3850 1830 3980
rect 2170 3850 2300 3980
rect 2330 3850 2460 3980
rect 2490 3850 2620 3980
rect 20 3620 190 3790
rect 3140 3810 3310 3980
rect 3330 3810 3500 3980
rect 3620 3810 3790 3980
rect 3810 3810 3980 3980
rect 3810 3620 3980 3790
rect 20 3330 190 3500
rect 3810 3330 3980 3500
rect 20 3140 190 3310
rect 3810 3140 3980 3310
rect 20 2490 150 2620
rect 20 2330 150 2460
rect 20 2170 150 2300
rect 20 1700 150 1830
rect 20 1540 150 1670
rect 20 1380 150 1510
rect 3850 2490 3980 2620
rect 3850 2330 3980 2460
rect 3850 2170 3980 2300
rect 3850 1700 3980 1830
rect 3850 1540 3980 1670
rect 3850 1380 3980 1510
rect 20 690 190 860
rect 3810 690 3980 860
rect 20 500 190 670
rect 3810 500 3980 670
rect 20 210 190 380
rect 20 20 190 190
rect 210 20 380 190
rect 500 20 670 190
rect 690 20 860 190
rect 3810 210 3980 380
rect 1380 20 1510 150
rect 1540 20 1670 150
rect 1700 20 1830 150
rect 2170 20 2300 150
rect 2330 20 2460 150
rect 2490 20 2620 150
rect 3140 20 3310 190
rect 3330 20 3500 190
rect 3620 20 3790 190
rect 3810 20 3980 190
<< mimcap >>
rect 280 3690 3720 3720
rect 280 310 310 3690
rect 3690 310 3720 3690
rect 280 280 3720 310
<< mimcapcontact >>
rect 310 310 3690 3690
<< metal4 >>
rect 0 3980 880 4000
rect 0 3810 20 3980
rect 190 3810 210 3980
rect 380 3810 500 3980
rect 670 3810 690 3980
rect 860 3810 880 3980
rect 0 3790 880 3810
rect 1360 3980 2640 4000
rect 1360 3850 1380 3980
rect 1510 3850 1540 3980
rect 1670 3850 1700 3980
rect 1830 3850 2170 3980
rect 2300 3850 2330 3980
rect 2460 3850 2490 3980
rect 2620 3850 2640 3980
rect 0 3620 20 3790
rect 190 3620 210 3790
rect 1360 3710 2640 3850
rect 3120 3980 4000 4000
rect 3120 3810 3140 3980
rect 3310 3810 3330 3980
rect 3500 3810 3620 3980
rect 3790 3810 3810 3980
rect 3980 3810 4000 3980
rect 3120 3790 4000 3810
rect 0 3500 210 3620
rect 0 3330 20 3500
rect 190 3330 210 3500
rect 0 3310 210 3330
rect 0 3140 20 3310
rect 190 3140 210 3310
rect 0 3120 210 3140
rect 290 3690 3710 3710
rect 290 2640 310 3690
rect 0 2620 310 2640
rect 0 2490 20 2620
rect 150 2490 310 2620
rect 0 2460 310 2490
rect 0 2330 20 2460
rect 150 2330 310 2460
rect 0 2300 310 2330
rect 0 2170 20 2300
rect 150 2170 310 2300
rect 0 1830 310 2170
rect 0 1700 20 1830
rect 150 1700 310 1830
rect 0 1670 310 1700
rect 0 1540 20 1670
rect 150 1540 310 1670
rect 0 1510 310 1540
rect 0 1380 20 1510
rect 150 1380 310 1510
rect 0 1360 310 1380
rect 0 860 210 880
rect 0 690 20 860
rect 190 690 210 860
rect 0 670 210 690
rect 0 500 20 670
rect 190 500 210 670
rect 0 380 210 500
rect 0 210 20 380
rect 190 210 210 380
rect 290 310 310 1360
rect 3690 2640 3710 3690
rect 3790 3620 3810 3790
rect 3980 3620 4000 3790
rect 3790 3500 4000 3620
rect 3790 3330 3810 3500
rect 3980 3330 4000 3500
rect 3790 3310 4000 3330
rect 3790 3140 3810 3310
rect 3980 3140 4000 3310
rect 3790 3120 4000 3140
rect 3690 2620 4000 2640
rect 3690 2490 3850 2620
rect 3980 2490 4000 2620
rect 3690 2460 4000 2490
rect 3690 2330 3850 2460
rect 3980 2330 4000 2460
rect 3690 2300 4000 2330
rect 3690 2170 3850 2300
rect 3980 2170 4000 2300
rect 3690 1830 4000 2170
rect 3690 1700 3850 1830
rect 3980 1700 4000 1830
rect 3690 1670 4000 1700
rect 3690 1540 3850 1670
rect 3980 1540 4000 1670
rect 3690 1510 4000 1540
rect 3690 1380 3850 1510
rect 3980 1380 4000 1510
rect 3690 1360 4000 1380
rect 3690 310 3710 1360
rect 290 290 3710 310
rect 3790 860 4000 880
rect 3790 690 3810 860
rect 3980 690 4000 860
rect 3790 670 4000 690
rect 3790 500 3810 670
rect 3980 500 4000 670
rect 3790 380 4000 500
rect 0 190 880 210
rect 0 20 20 190
rect 190 20 210 190
rect 380 20 500 190
rect 670 20 690 190
rect 860 20 880 190
rect 0 0 880 20
rect 1360 150 2640 290
rect 3790 210 3810 380
rect 3980 210 4000 380
rect 1360 20 1380 150
rect 1510 20 1540 150
rect 1670 20 1700 150
rect 1830 20 2170 150
rect 2300 20 2330 150
rect 2460 20 2490 150
rect 2620 20 2640 150
rect 1360 0 2640 20
rect 3120 190 4000 210
rect 3120 20 3140 190
rect 3310 20 3330 190
rect 3500 20 3620 190
rect 3790 20 3810 190
rect 3980 20 4000 190
rect 3120 0 4000 20
<< labels >>
flabel metal1 s 1360 0 2640 180 5 FreeSans 320 0 0 0 nmoscap_top
port 1 s
flabel metal1 s 1360 3820 2640 4000 1 FreeSans 320 0 0 0 nmoscap_top
port 1 n
flabel metal1 s 3974 1360 4000 2640 3 FreeSans 320 90 0 0 nmoscap_top
port 1 e
flabel metal1 s 0 1360 26 2640 7 FreeSans 320 90 0 0 nmoscap_top
port 1 w
flabel metal1 s 0 3120 240 4000 7 FreeSans 320 90 0 0 nmoscap_bot
port 2 w
flabel metal1 s 0 0 240 880 7 FreeSans 320 90 0 0 nmoscap_bot
port 2 w
flabel metal1 s 3760 0 4000 880 3 FreeSans 320 90 0 0 nmoscap_bot
port 2 e
flabel metal1 s 3760 3120 4000 4000 3 FreeSans 320 90 0 0 nmoscap_bot
port 2 e
flabel metal1 s 3120 3760 4000 4000 1 FreeSans 320 0 0 0 nmoscap_bot
port 2 n
flabel metal1 s 0 3760 880 4000 1 FreeSans 320 0 0 0 nmoscap_bot
port 2 n
flabel metal1 s 0 0 880 240 5 FreeSans 320 0 0 0 nmoscap_bot
port 2 s
flabel metal1 s 3120 0 4000 240 5 FreeSans 320 0 0 0 nmoscap_bot
port 2 s
flabel locali s 890 0 1350 80 5 FreeSans 320 0 0 0 pwell
port 3 s
flabel locali s 2650 0 3110 80 5 FreeSans 320 0 0 0 pwell
port 3 s
flabel locali s 2650 3920 3110 4000 1 FreeSans 320 0 0 0 pwell
port 3 n
flabel locali s 890 3920 1350 4000 1 FreeSans 320 0 0 0 pwell
port 3 n
flabel locali s 3920 2650 4000 3110 3 FreeSans 320 90 0 0 pwell
port 3 e
flabel locali s 3920 890 4000 1350 3 FreeSans 320 90 0 0 pwell
port 3 e
flabel locali s 0 890 80 1350 7 FreeSans 320 90 0 0 pwell
port 3 w
flabel locali s 0 2650 80 3110 7 FreeSans 320 90 0 0 pwell
port 3 w
flabel metal4 1360 3830 2640 4000 1 FreeSans 320 0 0 0 mimcap_top
port 4 n
flabel metal4 1360 0 2640 170 5 FreeSans 320 0 0 0 mimcap_top
port 4 s
flabel metal4 3830 1360 4000 2640 3 FreeSans 320 90 0 0 mimcap_top
port 4 e
flabel metal4 0 1360 170 2640 7 FreeSans 320 90 0 0 mimcap_top
port 4 w
flabel metal4 3120 0 4000 210 5 FreeSans 320 0 0 0 mimcap_bot
port 5 s
flabel metal4 0 0 880 210 5 FreeSans 320 0 0 0 mimcap_bot
port 5 s
flabel metal4 0 3790 880 4000 1 FreeSans 320 0 0 0 mimcap_bot
port 5 n
flabel metal4 3120 3790 4000 4000 1 FreeSans 320 0 0 0 mimcap_bot
port 5 n
flabel metal4 3790 3120 4000 4000 3 FreeSans 320 90 0 0 mimcap_bot
port 5 e
flabel metal4 3790 0 4000 880 3 FreeSans 320 90 0 0 mimcap_bot
port 5 e
flabel metal4 0 0 210 880 7 FreeSans 320 90 0 0 mimcap_bot
port 5 w
flabel metal4 0 3120 210 4000 7 FreeSans 320 90 0 0 mimcap_bot
port 5 w
<< properties >>
string FIXED_BBOX 0 0 4000 4000
<< end >>
